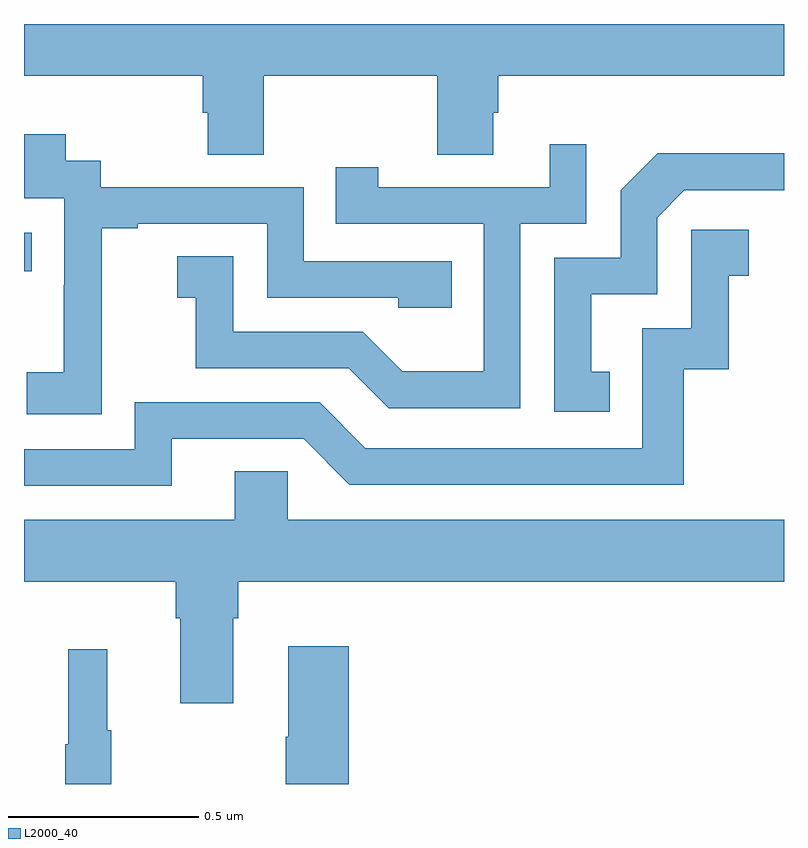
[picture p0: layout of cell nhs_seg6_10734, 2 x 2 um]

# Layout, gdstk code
import gdstk
lib = gdstk.Library(unit=1e-6, precision=1e-09)
def R(c, l, rs):  # rectangles x0, y0, x1, y1
    for r in rs: c.add(gdstk.rectangle(r[:2], r[2:], *l))
def P(c, l, *ps):  # polygons
    for p in ps: c.add(gdstk.Polygon(p, *l))
L2000_40 = (2000, 40)

nhs_seg6_10734 = lib.new_cell('nhs_seg6_10734')
R(nhs_seg6_10734, L2000_40, [(251,918.85,251.021,918.951)])
P(nhs_seg6_10734, L2000_40, [(251.631,919.364),(252.088,919.364),(252.088,919.156),(252.235,919.156),(252.235,919.266),(252.248,919.266),(252.248,919.364),(253,919.364),(253,919.5),(251,919.5),(251,919.364),(251.471,919.364),(251.471,919.266),(251.483,919.266),(251.483,919.156),(251.631,919.156)],
  [(251.205,918.679),(251.204,918.679),(251.204,918.963),(251.299,918.963),(251.299,918.975),(251.64,918.975),(251.64,918.78),(251.985,918.78),(251.985,918.753),(252.125,918.753),(252.125,918.876),(251.736,918.876),(251.736,919.071),(251.202,919.071),(251.202,919.14),(251.11,919.14),(251.11,919.21),(251.001,919.21),(251.001,919.041),(251.106,919.041),(251.106,918.812),(251.105,918.812),(251.105,918.583),(251.007,918.583),(251.007,918.473),(251.205,918.473)],
  [(252.306,918.975),(252.48,918.975),(252.48,919.183),(252.383,919.183),(252.383,919.071),(251.932,919.071),(251.932,919.123),(251.821,919.123),(251.821,918.975),(252.21,918.975),(252.21,918.586),(251.996,918.586),(251.892,918.69),(251.55,918.69),(251.55,918.889),(251.403,918.889),(251.403,918.779),(251.452,918.779),(251.452,918.594),(251.855,918.594),(251.96,918.489),(252.306,918.489)],
  [(252.542,918.585),(252.493,918.585),(252.493,918.789),(252.666,918.789),(252.666,918.99),(252.738,919.062),(253,919.062),(253,919.16),(252.668,919.16),(252.57,919.062),(252.57,918.885),(252.396,918.885),(252.396,918.48),(252.542,918.48)],
  [(251.389,918.408),(251.736,918.408),(251.856,918.288),(252.736,918.288),(252.736,918.591),(252.854,918.591),(252.854,918.837),(252.907,918.837),(252.907,918.958),(252.756,918.958),(252.756,918.699),(252.627,918.699),(252.627,918.384),(251.898,918.384),(251.778,918.504),(251.292,918.504),(251.292,918.381),(251,918.381),(251,918.285),(251.389,918.285)],
  [(251.551,917.936),(251.564,917.936),(251.564,918.032),(253,918.032),(253,918.196),(251.694,918.196),(251.694,918.323),(251.555,918.323),(251.555,918.196),(251,918.196),(251,918.032),(251.399,918.032),(251.399,917.936),(251.411,917.936),(251.411,917.712),(251.551,917.712)],
  [(251.855,917.863),(251.696,917.863),(251.696,917.624),(251.689,917.624),(251.689,917.5),(251.855,917.5)],
  [(251.23,917.641),(251.219,917.641),(251.219,917.854),(251.116,917.854),(251.116,917.604),(251.109,917.604),(251.109,917.5),(251.23,917.5)])

lib.write_gds('nhs_seg6_10734.gds')
